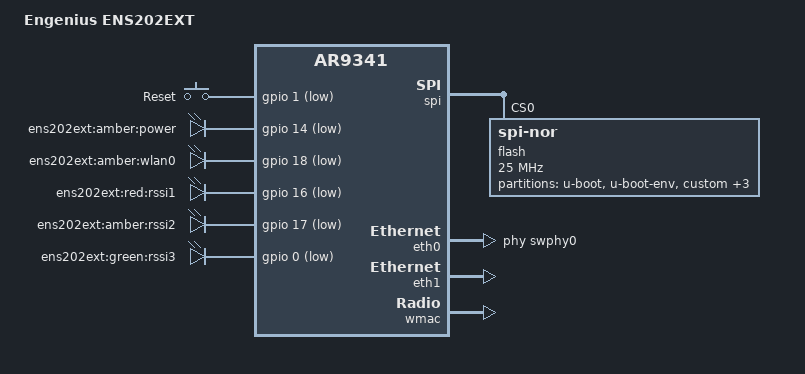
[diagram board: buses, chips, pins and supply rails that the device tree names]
// SPDX-License-Identifier: GPL-2.0-or-later OR MIT
/dts-v1/;

#include <dt-bindings/gpio/gpio.h>
#include <dt-bindings/input/input.h>

#include "ar9341.dtsi"

/ {
	model = "Engenius ENS202EXT";
	compatible = "engenius,ens202ext", "qca,ar9341";

	aliases {
		serial0 = &uart;
		led-boot = &system;
		led-failsafe = &system;
		led-running = &system;
		led-upgrade = &system;
	};

	keys {
		compatible = "gpio-keys-polled";
		poll-interval = <20>;

		reset {
			label = "Reset";
			linux,code = <KEY_RESTART>;
			gpios = <&gpio 1 GPIO_ACTIVE_LOW>;
			debounce-interval = <60>;
		};
	};

	leds {
		compatible = "gpio-leds";

		system: power {
			label = "ens202ext:amber:power";
			gpios = <&gpio 14 GPIO_ACTIVE_LOW>;
			default-state = "on";
		};

		wlan0 {
			label = "ens202ext:amber:wlan0";
			gpios = <&gpio 18 GPIO_ACTIVE_LOW>;
			linux,default-trigger = "phy0tpt";
		};

		rssilow {
			label = "ens202ext:red:rssi1";
			gpios = <&gpio 16 GPIO_ACTIVE_LOW>;
		};

		rssimedium {
			label = "ens202ext:amber:rssi2";
			gpios = <&gpio 17 GPIO_ACTIVE_LOW>;
		};

		rssihigh {
			label = "ens202ext:green:rssi3";
			gpios = <&gpio 0 GPIO_ACTIVE_LOW>;
		};
	};
};

&ref {
	clock-frequency = <25000000>;
};

&gpio {
	status = "okay";
};

&spi {
	status = "okay";

	num-cs = <1>;
	flash@0 {
		compatible = "jedec,spi-nor";
		reg = <0>;
		spi-max-frequency = <25000000>;

		partitions {
			compatible = "fixed-partitions";
			#address-cells = <1>;
			#size-cells = <1>;

			uboot: partition@0 {
				label = "u-boot";
				reg = <0x000000 0x040000>;
				read-only;
			};

			partition@40000 {
				label = "u-boot-env";
				reg = <0x040000 0x010000>;
			};

			partition@50000 {
				label = "custom";
				reg = <0x050000 0x050000>;
				read-only;
			};

			partition@a0000 {
				compatible = "denx,uimage";
				label = "firmware";
				reg = <0x0a0000 0xd50000>;
			};

			partition@df0000 {
				label = "failsafe";
				reg = <0xdf0000 0x200000>;
				read-only;
			};

			art: partition@ff0000 {
				label = "art";
				reg = <0xff0000 0x010000>;
				read-only;
			};
		};
	};
};

&eth0 {
	status = "okay";

	phy-handle = <&swphy0>;
	mtd-mac-address = <&art 0x0>;
};

&eth1 {
	status = "okay";

	mtd-mac-address = <&art 0x0>;

	gmac-config {
		device = <&gmac>;
		switch-phy-swap = <1>;
	};
};

&wmac {
	status = "okay";

	mtd-cal-data = <&art 0x1000>;

	mtd-mac-address = <&art 0x0>;
	mtd-mac-address-increment = <(-1)>;
};
